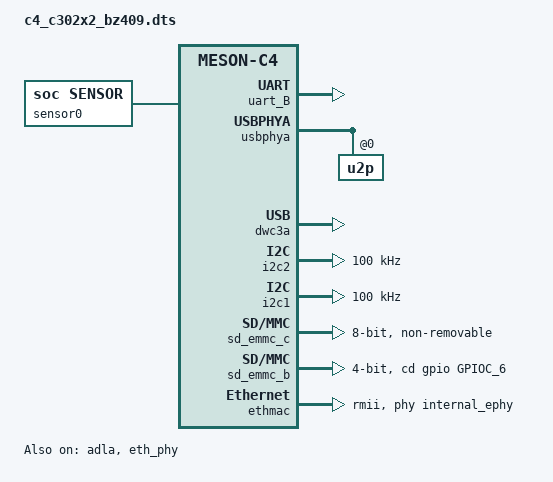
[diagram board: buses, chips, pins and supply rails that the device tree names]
// SPDX-License-Identifier: (GPL-2.0+ OR MIT)
/*
 * Copyright (c) 2019 Amlogic, Inc. All rights reserved.
 */

/dts-v1/;

#include "meson-c4.dtsi"

/ {
	amlogic-dt-id = "c4_c302x2_bz409";
	compatible = "c4_c302x2_bz409";

	aliases {
		serial0 = &uart_B;
		serial1 = &uart_E;
		serial2 = &uart_A;
		serial3 = &uart_C;
		serial4 = &uart_D;
		serial5 = &uart_F;
		i2c0 = &i2c0;
		i2c1 = &i2c1;
		i2c2 = &i2c2;
		i2c3 = &i2c3;
		i2c4 = &i2c4;
		spi0 = &spi_nfc;
		tsensor0 = &tsensor;
	};

	chosen {
		stdout-path = "serial0:115200n8";
	};

	memory@0 {
		device_type = "memory";
		linux,usable-memory = <0x0 0x20000000>;
	};

	reserved-memory {
		#address-cells = <1>;
		#size-cells = <1>;
		ranges;

		ramdump_bl33z {
			compatible = "shared-dma-pool";
			size = <0x01800000>;
			alignment = <0x00400000>;
			alloc-ranges = <0x05000000 0x07000000>;
			linux,contiguous-region;
			no-map;
			status = "disabled";
		};

		secmon_reserved:linux,secmon {
			compatible = "shared-dma-pool";
			no-map;
			reg = <0x07f50000 0x110000>;
		};
		nna_cma_reserved: linux,nna_cma {
			compatible = "shared-dma-pool";
			//alloc-ranges = <0x70000000 0x18000000>;
			size = <0x1000000>;
			alignment = <0x400000>;
			reusable;
			//no-map;
			status = "okay";
		};

		logo_reserved:linux,meson-fb {
			compatible = "shared-dma-pool";
			reusable;
			/* keep sync with fb */
			/* fox example:logo_addr = "0x3f800000"*/
			size = <0x1800000>;
			alignment = <0x400000>;
			reg = <0xe800000 0x1800000>;
				status = "disabled";
		};

		ion_cma_reserved:linux,ion-dev {
			compatible = "shared-dma-pool";
			reusable;
			size = <0x3000000>;
			alignment = <0x400000>;
				status = "disabled";
		};

		rtos_reserved:linux,rtos_reserved {
			compatible = "amlogic, aml_rtos_memory";
			status = "disabled";
			reg = <0x4800000 0x200000>;
			no-map;
		};

		dsp_fw_reserved:linux,dsp_fw {
			compatible = "shared-dma-pool";
			reusable;
			alignment = <0x400000>;
			reg = <0x3400000 0x0>;
			status = "disabled";
		};

		ramoops@8400000 {
			compatible = "ramoops";
			status = "disabled";
			reg = <0x08400000 0x00100000>;
			record-size = <0x20000>;
			console-size = <0x20000>;
			ftrace-size = <0x80000>;
			pmsg-size = <0x0>;
			no-map;
		};

		dmc_reserved:linux,dmc_monitor {
			compatible = "amlogic,dmc_monitor-reserved";
			reg = <0x0 0x0>;
				status = "disabled";
		};

		debug_reserved:linux,iotrace {
			compatible = "amlogic, iotrace";
			reg = <0x04f00000 0x00100000>;
			io-size = <0x1b000>;
			sched-size = <0x2000>;
			irq-size = <0x1000>;
			smc-size = <0x1000>;
			misc-size = <0x1000>;
			status = "disabled";
		};

		pmz_cma_a1_reserved:anonymous {
			compatible = "shared-dma-pool";
			//reusable;
			no-map;
			size = <0x4000000>;
			alignment = <0x400000>;
			status = "okay";
		};

		pmz_cma_a2_reserved:user_pmz {
			compatible = "shared-dma-pool";
			//reusable;
			no-map;
			size = <0x1000000>;
			alignment = <0x400000>;
			status = "disabled";
		};

		codec_mm_cma:linux,codec_mm_cma {
			compatible = "shared-dma-pool";
			reusable;
			/* ion_codec_mm max can alloc size 80M*/
			size = <0x2400000>;
			alignment = <0x400000>;
			linux,contiguous-region;
			status = "disabled";
		};
		/* codec shared reserved */
		codec_mm_reserved:linux,codec_mm_reserved {
			compatible = "amlogic, codec-mm-reserved";
			size = <0x0>;
			alignment = <0x100000>;
			//no-map;
			status = "disabled";
		};
		jpegenc_cma_reserved:linux,jpegenc_cma {
			compatible = "shared-dma-pool";
			reusable;
			size = <0x0>;
			alignment = <0x400000>;
			status = "disabled";
		};

		/* global autoconfigured region for contiguous allocations */
		linux,cma {
			compatible = "shared-dma-pool";
			reusable;
			size = <0x800000>;
			alignment = <0x400000>;
			linux,cma-default;
			status = "disabled";
		};
	};

	sensor0: sensor0 {
		compatible = "soc, sensor";
		status = "okay";
		sensor-name = "imx290"; /*imx290;os08a10;imx227*/
		pinctrl-names= "default";
		//clocks = <&clkc CLKID_GP_PLL_MCLK1_GATE>;
		clock-names = "mclk_0";
		//reset = <&gpio GPIOM_11 GPIO_ACTIVE_HIGH>;
		//pwdn = <&gpio GPIOM_10 GPIO_ACTIVE_HIGH>;
	};

	pmz_a1_dev {
		compatible = "amlogic, pmz_dev";
		memory-region = <&pmz_cma_a1_reserved>;
		pmz-allocator = "priv";
	};

	/* Audio Related start */
	dummy_codec:dummy_codec{
		#sound-dai-cells = <0>;
		compatible = "amlogic, aml_dummy_codec";
		status = "disabled";
	};

	a1_codec:a1_codec {
		#sound-dai-cells = <0>;
		compatible = "amlogic, c2_acodec";
		status = "disabled";
		reg = <0xFE004800 0x20>;
		tdmout_index = <1>;
		tdmin_index = <1>;
		dat0_ch_sel = <0>;
		dacr_output_inv = <0>;
		//power-domains = <&pwrdm PDID_CX_ACODEC>;
	};

	auge_sound {
		compatible = "amlogic, a1-sound-card";
		aml-audio-card,name = "AML-AUGESOUND";

		/*avout mute gpio*/
		//avout_mute-gpios = <&gpio GPIOD_11 GPIO_ACTIVE_HIGH>;
		status = "disabled";

		aml-audio-card,dai-link@0 {
			format = "dsp_a";
			mclk-fs = <512>;
			//continuous-clock;
			//bitclock-inversion;
			//frame-inversion;
			/* master mode */
			bitclock-master = <&tdma>;
			frame-master = <&tdma>;
			/* slave mode */
			/*
			 * bitclock-master = <&tdmacodec>;
			 * frame-master = <&tdmacodec>;
			 */
			suffix-name = "alsaPORT-pcm";
			tdmacpu: cpu {
				sound-dai = <&tdma>;
				dai-tdm-slot-tx-mask =
							<1 1 1 1 1 1 1 1>;
				dai-tdm-slot-rx-mask =
							<1 1 1 1 1 1 1 1>;
				dai-tdm-slot-num = <8>;
				dai-tdm-slot-width = <32>;
				system-clock-frequency = <24576000>;
			};
			tdmacodec: codec {
				sound-dai = <&dummy_codec>;
			};
		};

		aml-audio-card,dai-link@1 {
			format = "i2s";// "dsp_a";
			mclk-fs = <256>;
			//continuous-clock;
			//bitclock-inversion;
			//frame-inversion;
			/* master mode */
			bitclock-master = <&tdmb>;
			frame-master = <&tdmb>;
			/* slave mode */
			//bitclock-master = <&tdmbcodec>;
			//frame-master = <&tdmbcodec>;
			/* suffix-name, sync with android audio hal
			 * what's the dai link used for
			 */
			suffix-name = "alsaPORT-i2s";
			status = "disabled";

			tdmbcpu: cpu {
				sound-dai = <&tdmb>;
				dai-tdm-slot-tx-mask = <1 1>;
				dai-tdm-slot-rx-mask = <0 1>;
				dai-tdm-slot-num = <2>;
				dai-tdm-slot-width = <32>;
				system-clock-frequency = <1155072000>;
			};
			tdmbcodec: codec {
				sound-dai = <&a1_codec>;
			};
		};

		aml-audio-card,dai-link@2 {
			mclk-fs = <64>;
			/* suffix-name, sync with android audio hal
			 * what's the dai link used for
			 */
			suffix-name = "alsaPORT-pdm";
			status = "disabled";
			cpu {
				sound-dai = <&pdm>;
			};
			codec {
				sound-dai = <&dummy_codec>;
			};
		};

		aml-audio-card,dai-link@4 {
			mclk-fs = <256>;
			continuous-clock;
			suffix-name = "alsaPORT-loopback";
			status = "disabled";
			cpu {
				sound-dai = <&loopback>;
				system-clock-frequency = <12288000>;
			};
			codec {
				sound-dai = <&dummy_codec>;
			};
		};
	};

	picdec {
		compatible = "amlogic, picdec";
		status = "disabled";
	};

	/* Audio Related end */
	/* to check
	 *wifivbat_power: regulator-wifivbat {
	 *	compatible = "regulator-fixed";
	 *	regulator-name = "WIFIVBAT_POWER";
	 *	vin-supply = <&vddao3v3_reg>;
	 *	regulator-min-microvolt = <3300000>;
	 *	regulator-max-microvolt = <3300000>;
	 *	gpio = <&gpio GPIOD_13 GPIO_ACTIVE_HIGH>;
	 *	enable-active-high;
	 *	regulator-boot-on;
	 *	regulator-always-on;
	 *};

	 *vddio_wf: regulator_wfio {
	 *	compatible = "regulator-fixed";
	 *	regulator-name = "VDDIO_WF";
	 *	vin-supply = <&vddao1v8_reg>;
	 *	regulator-min-microvolt = <1800000>;
	 *	regulator-max-microvolt = <1800000>;
	 *	regulator-boot-on;
	 *	regulator-always-on;
	 *};
	 */

	unifykey{
		compatible = "amlogic,unifykey";
		status = "okay";
		unifykey-num = <2>;
		unifykey-index-0 = <&keysn_0>;
		unifykey-index-1 = <&keysn_1>;

		keysn_0: key_0{
			key-name = "usid";
			key-device = "normal";
			key-permit = "read","write","del";
		};
		keysn_1:key_1{
			key-name = "hdcp";
			key-device = "secure";
			key-type = "sha1";
			key-permit = "read","write","del";
		};
	};//End unifykey
};

/* Audio Related start */
&audiobus {
	tdma: tdm@0 {
		compatible = "amlogic, a1-snd-tdma";
		#sound-dai-cells = <0>;
		dai-tdm-lane-slot-mask-in = <0 1>;
		dai-tdm-lane-oe-slot-mask-out = <1 0>;
		dai-tdm-clk-sel = <0>;
		clocks = <&clkaudio CLKID_AUDIO_MCLK_A
				&clkc CLKID_FCLK_DIV3>;
		clock-names = "mclk", "clk_srcpll";
		pinctrl-names = "tdm_pins";
		pinctrl-0 = </*&tdmout_a*/ &tdmin_a>;
		//power-domains = <&pwrdm PDID_CX_AUDIO>;

		status = "disabled";
	};

	tdmb: tdm@1 {
		compatible = "amlogic, a1-snd-tdmb";
		#sound-dai-cells = <0>;
		dai-tdm-lane-slot-mask-in = <1 0 0 0>;
		dai-tdm-lane-slot-mask-out = <1 0 0 0>;
		/* dai-tdm-lane-oe-slot-mask-in = <0 1>; */
		dai-tdm-clk-sel = <1>;
		clocks = <&clkaudio CLKID_AUDIO_MCLK_B
				&clkaudio CLKID_AUDIO_MCLK_PAD0
				&clkc CLKID_HIFI_PLL>;
		clock-names = "mclk", "mclk_pad", "clk_srcpll";
		pinctrl-names = "tdm_pins";
		pinctrl-0 = <&tdmb_mclk &tdmout_b /*&tdmin_b*/>;

		/* tdmin data comes from ACODEC adc */
		acodec_adc = <1>;

		/*
		 * 0: tdmout_a;
		 * 1: tdmout_b;
		 * 2: tdmout_c;
		 * 3: spdifout;
		 * 4: spdifout_b;
		 */
		//samesource_sel = <3>;
		start_clk_enable = <1>;
		//power-domains = <&pwrdm PDID_CX_AUDIO>;

		src-clk-freq = <1155072000>;

		status = "disabled";
	};

	pdm: pdm {
		compatible = "amlogic, a1-snd-pdm";
		#sound-dai-cells = <0>;

		clocks = <&clkaudio CLKID_AUDIO_GATE_PDM
			&clkc CLKID_HIFI_PLL
			&clkc CLKID_HIFI_PLL
			&clkaudio CLKID_AUDIO_PDMIN0
			&clkaudio CLKID_AUDIO_PDMIN1>;
		clock-names = "gate",
			"sysclk_srcpll",
			"dclk_srcpll",
			"pdm_dclk",
			"pdm_sysclk";

		pinctrl-names = "pdm_pins";
		pinctrl-0 = </*&pdmin*/>;

		/* mode 0~4, defalut:1 */
		filter_mode = <1>;
		lane-mask-in = <1 1 0 0>;

		sys-src-clk-freq = <1155072000>;
		//power-domains = <&pwrdm PDID_CX_PDM>;

		status = "disabled";
	};

	asrcb: resample@1 {
		compatible = "amlogic, c2-resample-b";
		clocks = <&clkc CLKID_HIFI_PLL
			&clkaudio CLKID_AUDIO_MCLK_D
			&clkaudio CLKID_AUDIO_RESAMPLE_A>;
		clock-names = "resample_pll", "resample_src", "resample_clk";

		/*this resample is only used for loopback_A.*/
		/*only support 16000 or 48000Hz for capture*/
		capture_sample_rate = <16000>;

		/* hifi pll rate */
		src-clk-freq = <1155072000>;

		status = "disabled";
	};

	loopback: loopback {
		compatible = "amlogic, a1-loopbacka";
		#sound-dai-cells = <0>;

		original-src = <&tdmb>;
		//tdmin_lb-src = <&tdmin_lb>;

		clocks = <&clkaudio CLKID_AUDIO_GATE_PDM
			&clkc CLKID_HIFI_PLL
			&clkc CLKID_HIFI_PLL
			&clkaudio CLKID_AUDIO_PDMIN0
			&clkaudio CLKID_AUDIO_PDMIN0
			&clkc CLKID_HIFI_PLL
			&clkaudio CLKID_AUDIO_MCLK_C>;
		clock-names = "pdm_gate",
			"pdm_sysclk_srcpll",
			"pdm_dclk_srcpll",
			"pdm_dclk",
			"pdm_sysclk",
			"tdminlb_mpll",
			"tdminlb_mclk";

		/* datain src
		 * 0: tdmin_a;
		 * 1: tdmin_b;
		 * 2: tdmin_c;
		 * 3: spdifin;
		 * 4: pdmin;
		 */
		datain_src = <1>;
		datain_chnum = <1>;
		datain_chmask = <0x1>;
		/* config which data pin for loopback */
		datain-lane-mask-in = <1 0 0 0>;

		sys-src-clk-freq = <1155072000>;

		/* calc mclk for datalb */
		mclk-fs = <256>;

		/* tdmin_lb src
		 * 0: tdmoutA
		 * 1: tdmoutB
		 * 2: tdmoutC
		 * 3: PAD_TDMINA_DIN*, refer to core pinmux
		 * 4: PAD_TDMINB_DIN*, refer to core pinmux
		 * 5: PAD_TDMINC_DIN*, refer to core pinmux
		 * 6: PAD_TDMINA_D*, oe, refer to core pinmux
		 * 7: PAD_TDMINB_D*, oe, refer to core pinmux
		 */
		/* if tdmin_lb >= 3, use external loopback */
		datalb_src = <1>;
		datalb_chnum = <2>;
		datalb_chmask = <0x1>;
		/* config which data pin as loopback */
		datalb-lane-mask-in = <1 0 0 0>;
		//power-domains = <&pwrdm PDID_CX_AUDIO>;

		status = "disabled";
	};

	aed:effect {
		compatible = "amlogic, snd-effect-v4";
		#sound-dai-cells = <0>;
		clocks = <&clkaudio CLKID_AUDIO_GATE_EQDRC
			&clkc CLKID_FCLK_DIV3
			&clkaudio CLKID_AUDIO_EQDRC>;
		clock-names = "gate", "srcpll", "eqdrc";
		/*
		 * 0:tdmout_a
		 * 1:tdmout_b
		 * 2:tdmout_c
		 * 3:spdifout
		 * 4:spdifout_b
		 */
		eqdrc_module = <1>;
		/* max 0xf, each bit for one lane, usually one lane */
		lane_mask = <0x1>;
		/* max 0xff, each bit for one channel */
		channel_mask = <0x3>;
		//power-domains = <&pwrdm PDID_CX_AUDIO>;
		status = "disabled";
	};
}; /* end of audiobus */
/* Audio Related end */

&periphs_pinctrl {
	/* Audio Related start */
		tdmout_a: tdmout_a {
		mux { /* GPIOX_11, GPIOX_10, GPIOX_9 */
			groups = "tdm_a_sclk",
				"tdm_a_fs",
				"tdm_a_dout0";
			function = "tdm_a";
		};
	};

	tdmin_a: tdmin_a {
		mux { /* GPIOX_8 */
			groups = "tdm_a_din1";
			function = "tdm_a";
		};
	};

	tdmb_mclk: tdmb_mclk {
		mux {
			groups = "mclk_0";
			function = "mclk_0";
			drive-strength = <2>;
		};
	};

	tdmout_b: tdmout_b {
		mux { /* GPIOA_1, GPIOA_2, GPIOA_3 */
			groups = "tdm_b_sclk",
				"tdm_b_fs",
				"tdm_b_dout0";
			function = "tdm_b";
			drive-strength = <2>;
		};
	};

	tdmin_b:tdmin_b {
		mux { /* GPIOA_7 */
			groups = "tdm_b_din0";
			function = "tdm_b";
			drive-strength = <2>;
		};
	};

	spdifin: spdifin {
		mux {/* GPIOF_6 */
			groups = "spdif_in_f6";
			function = "spdif_in";
		};
	};

	pdmin: pdmin {
		mux { /* GPIOM_3, GPIOM_2 */
			groups =
				"pdm_din0_m",
				"pdm_dclk_m";
			function = "pdm";
		};
	};

	/* Audio Related end */
};

&uart_B {
	status = "okay";
};

&usbphya {
	status = "okay";
	u2p@0 {
		status = "okay";
	};
};

&dwc3otg {
	status = "disable";
	controller-type = <1>;
};

&dwc3a {
	status = "okay";
};

&i2c2 {
	status = "okay";
	pinctrl-names = "default", "sleep";
	pinctrl-0 = <&i2c2_master_pins1>;
	pinctrl-1 = <&i2c2_master_sleep_pins1>;
	clock-frequency = <100000>; /* default 100k */
};

&i2c1 {
	status= "okay";
	clock-frequency = <100000>;
	pinctrl-names = "default", "sleep";
	pinctrl-0 = <&i2c1_master_pins5>;
	pinctrl-1 = <&i2c1_master_sleep_pins5>;
};

&adla {
	status = "okay";
	memory-region = <&nna_cma_reserved>;
};

&sd_emmc_c {
	status = "okay";
	pinctrl-0 = <&emmc_pins>;
	pinctrl-1 = <&emmc_clk_gate_pins>;
	pinctrl-2 = <&emmc_pins_sleep>;
	pinctrl-names = "default", "clk-gate", "sleep";
	cap-mmc-highspeed;
	non-removable;
	//mmc-run-pxp;
	//mmc-ddr-1_8v;
	//mmc-hs200-1_8v;
	//mmc-hs400-1_8v;
	max-frequency = <200000000>;
	disable-wp;
	bus-width = <8>;
};

&sd_emmc_b {
	status = "okay";
	pinctrl-0 = <&sdcard_pins>;
	pinctrl-1 = <&sdcard_clk_gate_pins>;
	pinctrl-2 = <&sd_1bit_pins>;
	pinctrl-names = "sd_default",
			"clk-gate",
			"sd_1bit_pins";
	bus-width = <4>;
	cap-sd-highspeed;
	//sd-uhs-sdr104;
	disable-wp;
	//mmc-run-pxp;
	max-frequency = <200000000>;
	cd-gpios = <&gpio GPIOC_6 GPIO_ACTIVE_HIGH>;
	//vmmc-supply = <&sdcard_power>;
	//vqmmc-supply = <&vddio_card>;
};

&sd_emmc_a {
	status = "disabled";
	pinctrl-0 = <&sdio_m_pins>;
	pinctrl-1 = <&sdio_m_clk_gate_pins>;
	pinctrl-names = "default", "clk-gate";
	bus-width = <4>;
	cap-sd-highspeed;
	sd-uhs-sdr104;
	non-removable;
	max-frequency = <200000000>;
	disable-wp;
	cap-sdio-irq;
	keep-power-in-suspend;
};

&eth_phy {
	status = "okay";
};

&ethmac {
	status = "okay";
	phy-handle = <&internal_ephy>;
	phy-mode = "rmii";
	mc_val = <0x4be04>;
	phy-mii-clk-sel = <0x3>;
	eee-enable = <0>;
	amlogic,wol-enable;
};

&aml_wifi {
	status = "disabled";
};

&aml_bt {
	status = "disabled";
};

&mtd_nand {
	status = "disabled";
	#address-cells = <1>;
	#size-cells = <0>;

	pinctrl-names = "nand_norb_mod","nand_cs_only";
	pinctrl-0 = <&all_nand_pins>;
	pinctrl-1 = <&nand_cs_pins>;
	bl_mode = <1>;
	fip_copies = <4>;
	fip_size = <0x200000>;
	ship_bad_block = <1>;
	disa_irq_flag = <1>;
	nand@bootloader {
		reg = <0>;
		#address-cells = <1>;
		#size-cells = <1>;
		nand-ecc-maximize;
		partition@0 {
			label = "bootloader";
			reg = <0x0 0x00000000>;
		};
	};
	nand@normal {
		reg = <0>;
		#address-cells = <1>;
		#size-cells = <1>;
		nand-ecc-maximize;

		partition@0 {
			label = "tpl";
			reg = <0x0 0x00000000>;
		};
		partition@2 {
			label = "recovery";
			reg = <0x0 0x2000000>;
		};
		partition@3 {
			label = "boot";
			reg = <0x0 0x2000000>;
		};
		partition@4 {
			label = "system";
			reg = <0x0 0x13000000>;
		};
		partition@5 {
			label = "data";
			reg = <0x0 0xffffffff>;
		};
	};
};

&spi_nfc {
	status = "disabled";
	pinctrl-names = "default";
	pinctrl-0 = <&spinf_pins>;
	spi-nand@0 {
		compatible = "spi-nand";
		status = "disabled";
		reg = <0>;
		spi-max-frequency = <83000000>;
		spi-tx-bus-width = <4>;
		spi-rx-bus-width = <4>;
	};
	spi-nor@0 {
		compatible = "spi-nor";
		status = "okay";
		reg = <0>;
		spi-tx-bus-width = <4>;
		spi-rx-bus-width = <4>;
		spi-max-frequency = <83000000>;
		m25p,fast-read;
		/* partition info sram addr */
		param_sram_addr = <0xf3c23800>;
		param_sram_size = <0x400>;
	};
};

&saradc {
	status = "disabled";
};

&freertos {
	status = "disabled";
};
